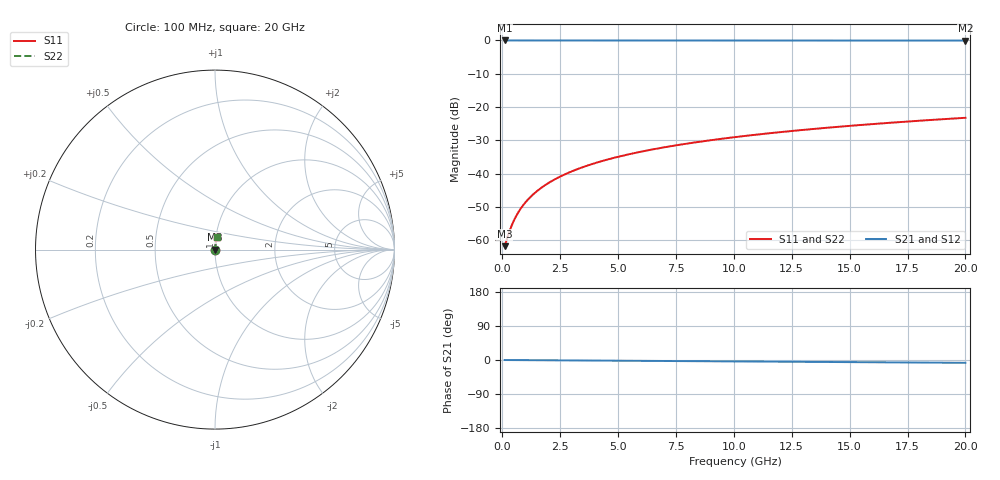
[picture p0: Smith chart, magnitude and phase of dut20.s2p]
! Touchstone file exported from HFSS 2026.1.0
!  File:  C:/ffzhzh/LocalFiles/Ansys_Project_Files/temp_train_TSV_20_1782958141_15332.aedt
!  Generated:  10:11:15 AM Jul  2, 2026
!  Design:  TSV
!  Project:  temp_train_TSV_20_1782958141_15332
! Variables:
!  h_bsmrdl = 2um
!  h_ox = 20um
!  h_rdl = 5um
!  h_sub = 61.33um
!  h_tmrdl = 5um
!  h_tsv = 61.33um
!  h_via = 3um
!  l_bsmrdl = 300um
!  l_sub = 406.34um
!  l_tmrdl = 200um
!  m_sub = 200um
!  pitch = 32.4um
!  r_tsv = 3.17um
!  s_tmrdl = 10um
!  w_bsmrdl = 18um
!  w_sub = 500um
!  w_tmrdl = 12um
!  x_tsv_center1 = 206um
!  x_tsv_center2 = 524um
!  x_tsv_center3 = 736um
!  x_tsv_center4 = 1054um
!  x_tsv_center5 = 1266um
!  x_tsv_center6 = 1584um
# GHz S MA R 50.000000
! Terminal data exported
! Port[1] = TSV1_1_T1
! Port[2] = TSV1_1_T2
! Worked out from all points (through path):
!   200 points, 100 MHz to 20 GHz, reference 50 ohm
!   highest |S21| = -0.01 dB at 100 MHz (marker M1); lowest = 0.0 dB at 20 GHz (marker M2)
!   group delay of S21, straight-line fit = 1.03 ps
!   lowest |S11| = -61.7 dB at 100 MHz (marker M3), VSWR 1.00, Z = 50.1 + j0.0375 ohm
!   |S11| at or under -10 dB: start of sweep to end of sweep
!   |S22| runs from -61.7 to -23.2 dB; largest |S21 - S12| = 6.7e-15
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0.1  0.0008207 27.1  0.9993 -0.0  0.9993 -0.0  0.0008207 27.1
! Gamma 0 0 0 0
! Port Impedance 50 0 50 0
0.3  0.00134 56.0  0.9993 -0.1  0.9993 -0.1  0.00134 56.0
0.4  0.001659 62.7  0.9992 -0.2  0.9992 -0.2  0.001659 62.7
0.5  0.00199 67.2  0.9992 -0.2  0.9992 -0.2  0.00199 67.2
0.6  0.00233 70.5  0.9992 -0.2  0.9992 -0.2  0.00233 70.5
0.7  0.002675 72.9  0.9992 -0.3  0.9992 -0.3  0.002675 72.9
0.9  0.003373 76.2  0.9992 -0.3  0.9992 -0.3  0.003373 76.2
1.2  0.004435 79.1  0.9992 -0.5  0.9992 -0.5  0.004435 79.1
1.4  0.005147 80.4  0.9992 -0.5  0.9992 -0.5  0.005147 80.4
1.7  0.006219 81.7  0.9991 -0.6  0.9991 -0.6  0.006219 81.7
2.2  0.008009 83.0  0.9991 -0.8  0.9991 -0.8  0.008009 83.0
2.8  0.01016 83.8  0.999 -1.1  0.999 -1.1  0.01016 83.8
3.5  0.01265 84.2  0.9989 -1.3  0.9989 -1.3  0.01265 84.2
4.2  0.01514 84.4  0.9988 -1.6  0.9988 -1.6  0.01514 84.4
5  0.01797 84.4  0.9987 -1.9  0.9987 -1.9  0.01797 84.4
5.9  0.02113 84.3  0.9985 -2.2  0.9985 -2.2  0.02113 84.3
6.8  0.02427 84.2  0.9983 -2.6  0.9983 -2.6  0.02427 84.2
8.3  0.02947 83.8  0.998 -3.1  0.998 -3.1  0.02947 83.8
10.1  0.03565 83.4  0.9976 -3.8  0.9976 -3.8  0.03565 83.4
13.4  0.0469 82.5  0.9968 -5.0  0.9968 -5.0  0.0469 82.5
16.7  0.05806 81.5  0.996 -6.2  0.996 -6.2  0.05806 81.5
20  0.06915 80.5  0.9951 -7.4  0.9951 -7.4  0.06915 80.5
